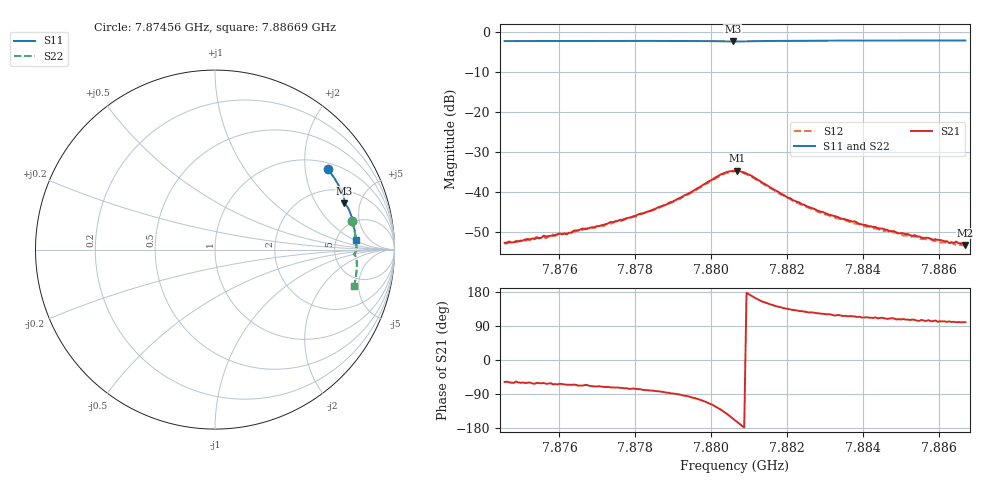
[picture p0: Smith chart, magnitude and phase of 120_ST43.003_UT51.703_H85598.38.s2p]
#  HZ  S  DB  R  50.00
! Rohde & Schwarz Vector Network Analyzer
! Rohde-Schwarz,ZNB20-2Port,1311601062101988,3.16
! Created: UTC 1/12/2023, 6:38:10 PM
! freq[Hz]  db:S11  ang:S11  db:S21  ang:S21  db:S12  ang:S12  db:S22  ang:S22
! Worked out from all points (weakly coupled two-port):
!   201 points, 7.87456 GHz to 7.88669 GHz, reference 50 ohm
!   highest |S21| = -34.64 dB at 7.88068 GHz (marker M1); lowest = -53.2 dB at 7.88669 GHz (marker M2)
!   lowest |S11| = -2.3 dB at 7.88056 GHz (marker M3), VSWR 7.46, Z = 144 + j177 ohm
!   |S11| at or under -10 dB: nowhere
!   |S22| runs from -2.2 to -1.9 dB; largest |S21 - S12| = 0.0012
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7.874556e9  -2.25 35.7  -52.64 -58.0  -52.84 -59.6  -2.16 11.7
7.875405e9  -2.23 33.3  -51.40 -60.2  -51.22 -64.7  -2.14 9.7
7.875648e9  -2.23 32.7  -51.08 -62.7  -51.54 -64.9  -2.13 9.1
7.876012e9  -2.22 31.7  -50.28 -62.6  -50.47 -67.5  -2.12 8.2
7.876194e9  -2.22 31.2  -50.54 -65.3  -50.25 -67.8  -2.11 7.8
7.876618e9  -2.21 30.0  -49.07 -67.6  -49.36 -70.7  -2.10 6.8
7.877892e9  -2.19 26.5  -46.25 -75.9  -46.31 -79.4  -2.07 3.8
7.87862e9  -2.20 24.5  -43.68 -82.6  -43.91 -86.5  -2.06 2.1
7.879408e9  -2.21 22.2  -40.29 -96.2  -40.46 -100.2  -2.08 0.1
7.880258e9  -2.31 20.0  -35.51 -131.7  -35.76 -134.8  -2.18 -1.7
7.880561e9  -2.34 19.7  -34.70 -154.4  -34.83 -157.7  -2.21 -2.0
7.880622e9  -2.34 19.6  -34.64 -159.2  -34.79 -162.6  -2.21 -2.0
7.880682e9  -2.34 19.6  -34.64 -163.9  -34.85 -167.4  -2.21 -2.0
7.880925e9  -2.30 19.3  -35.34 177.5  -35.51 174.1  -2.18 -2.2
7.882017e9  -2.18 16.5  -41.37 134.8  -41.46 131.4  -2.03 -4.4
7.882684e9  -2.15 14.7  -44.08 125.4  -44.24 121.0  -2.00 -6.0
7.883715e9  -2.12 11.9  -47.36 115.3  -47.76 111.9  -1.96 -8.4
7.884685e9  -2.11 9.3  -49.70 109.5  -50.03 105.0  -1.95 -10.6
7.885959e9  -2.09 6.0  -51.92 100.9  -52.52 98.0  -1.93 -13.3
7.886262e9  -2.09 5.2  -52.71 101.9  -52.57 97.4  -1.93 -14.0
7.886444e9  -2.09 4.7  -52.34 99.6  -53.19 98.1  -1.93 -14.4
7.886687e9  -2.09 4.1  -53.21 99.9  -53.49 96.2  -1.93 -14.9
